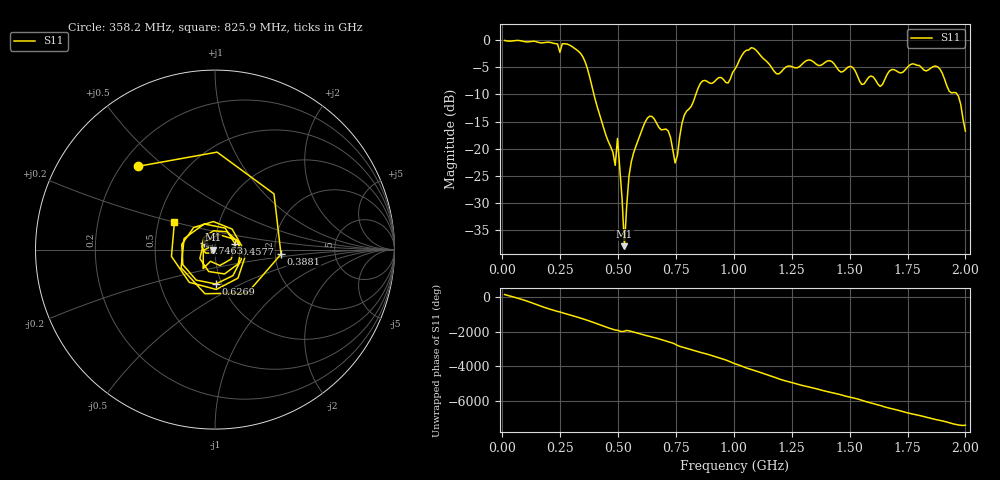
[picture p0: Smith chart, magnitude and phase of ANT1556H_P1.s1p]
!Created with skrf (http://scikit-rf.org).
# Hz S RI R 50.0
!freq ReS11 ImS11
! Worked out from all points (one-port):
!   201 points, 10 MHz to 2 GHz, reference 50 ohm
!   lowest |S11| = -38.0 dB at 527.4 MHz (marker M1), VSWR 1.03, Z = 48.8 - j0.0736 ohm
!   |S11| at or under -10 dB: 395.7 MHz to 835.7 MHz (440 MHz wide, 71.5 % of centre); 1.965 GHz to end of sweep
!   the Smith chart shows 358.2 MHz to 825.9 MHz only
!   S11 on the Smith chart (normalised r, x): 358.2 MHz: 0.27, +0.41; 388.1 MHz: 2.16, -0.13; 457.8 MHz: 1.25, +0.08; 626.9 MHz: 0.94, -0.37; 746.3 MHz: 0.88, +0.07; 825.9 MHz: 0.61, +0.20
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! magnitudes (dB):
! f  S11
! 10 MHz  0.0
! 258.8 MHz  -0.6
! 358.2 MHz  -4.0
! 388.1 MHz  -8.7
! 457.8 MHz  -18.7
! 487.6 MHz  -23.1
! 497.6 MHz  -18.1
! 507.5 MHz  -23.7
! 527.4 MHz  -38.0
! 547.3 MHz  -25.0
! 557.2 MHz  -22.4
! 626.9 MHz  -14.4
! 716.5 MHz  -16.7
! 746.3 MHz  -22.7
! 756.2 MHz  -21.3
! 786.1 MHz  -13.8
! 825.9 MHz  -11.2
! 865.7 MHz  -7.5
! 1.005 GHz  -5.3
! 1.075 GHz  -1.4
! 1.184 GHz  -6.2
! 1.254 GHz  -4.9
! 1.502 GHz  -4.8
! 1.632 GHz  -8.5
! 1.751 GHz  -4.9
! 1.891 GHz  -5.3
! 1.97 GHz  -10.3
! 2 GHz  -16.8
